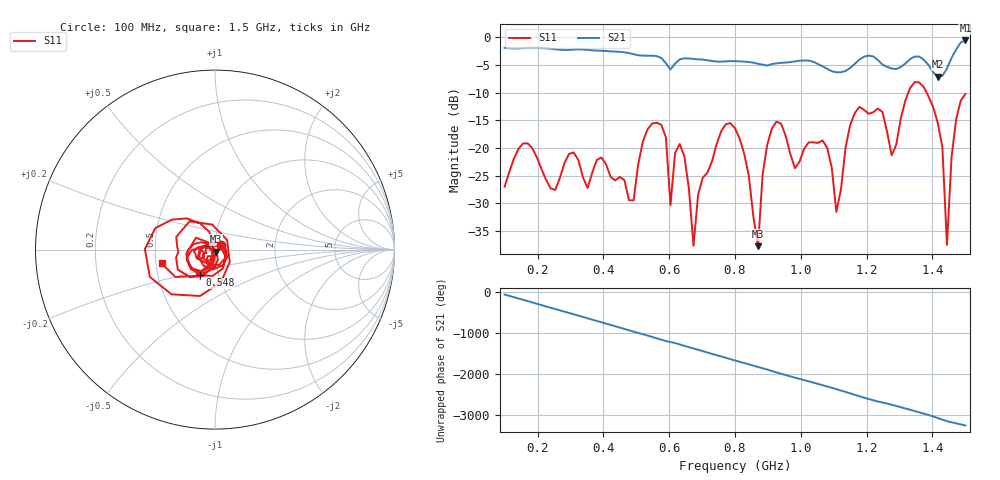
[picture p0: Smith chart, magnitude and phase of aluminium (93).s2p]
! NanoVNA-App
! Date: 2025-09-26 09:58:47
! Start: 100MHz Stop: 1,5GHz Points: 101
! S-Parameter data: F S11 S21 S12 S22
# Hz S RI R 50
!  Frequency  S11_Real  S11_Imag  S21_Real  S21_Imag  S12_Real  S12_Imag  S22_Real  S22_Imag
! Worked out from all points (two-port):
!   101 points, 100 MHz to 1.5 GHz, reference 50 ohm
!   highest |S21| = -0.58 dB at 1.5 GHz (marker M1); lowest = -7.1 dB at 1.416 GHz (marker M2)
!   |S21| within 3 dB of the highest: start of sweep to 569.5 MHz; 1.19 GHz to 1.223 GHz (32.3 MHz wide, 2.68 % of centre)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
!   lowest |S11| = -37.7 dB at 870 MHz (marker M3), VSWR 1.03, Z = 50.7 - j1.1 ohm
!   |S11| at or under -10 dB: start of sweep to 1.327 GHz; 1.382 GHz to end of sweep
!   S12 and S22 are empty: the file has one direction only
!   S11 on the Smith chart (normalised r, x): 100 MHz: 1.07, +0.06; 548 MHz: 0.81, -0.24; 1.5 GHz: 0.54, -0.09
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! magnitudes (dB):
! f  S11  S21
! 100 MHz  -27.0  -1.9
! 156 MHz  -19.2  -2.0
! 338 MHz  -25.3  -2.2
! 492 MHz  -29.4  -3.1
! 548 MHz  -15.6  -3.3
! 576 MHz  -15.8  -3.7
! 604 MHz  -30.3  -5.8
! 646 MHz  -21.5  -3.8
! 674 MHz  -37.7  -3.9
! 702 MHz  -25.4  -4.0
! 800 MHz  -16.4  -4.3
! 870 MHz  -37.7  -4.8
! 912 MHz  -16.5  -4.8
! 1.038 GHz  -19.0  -4.4
! 1.108 GHz  -31.5  -6.3
! 1.178 GHz  -12.6  -4.0
! 1.276 GHz  -21.3  -5.6
! 1.346 GHz  -8.1  -3.5
! 1.416 GHz  -15.4  -7.1
! 1.444 GHz  -37.5  -5.6
! 1.472 GHz  -14.8  -2.2
! 1.5 GHz  -10.2  -0.6
